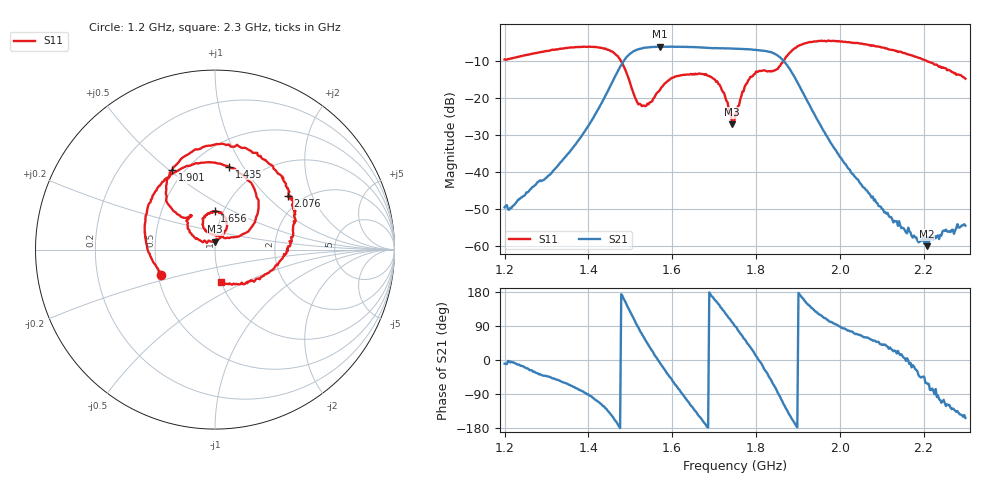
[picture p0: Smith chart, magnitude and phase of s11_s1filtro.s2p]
# HZ S RI R 50
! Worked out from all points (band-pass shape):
!   404 points, 1.2 GHz to 2.3 GHz, reference 50 ohm
!   highest |S21| = -6.15 dB at 1.571 GHz (marker M1); lowest = -60.0 dB at 2.207 GHz (marker M2)
!   |S21| within 3 dB of the highest: 1.49 GHz to 1.859 GHz (368.8 MHz wide, 22 % of centre)
!   lowest |S11| = -27.1 dB at 1.743 GHz (marker M3), VSWR 1.09, Z = 49.9 + j4.39 ohm
!   |S11| at or under -10 dB: 1.477 GHz to 1.866 GHz (388.4 MHz wide, 23.2 % of centre); 2.208 GHz to end of sweep
!   S12 and S22 are empty: the file has one direction only
!   S11 on the Smith chart (normalised r, x): 1.2 GHz: 0.52, -0.17; 1.435 GHz: 0.73, +0.87; 1.656 GHz: 0.91, +0.41; 1.901 GHz: 0.43, +0.51; 2.076 GHz: 1.69, +1.35; 2.3 GHz: 1.01, -0.37
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1.2e9  -0.2989 -0.1427  0.00331 -0.000562  0 0  0 0
1.300993e9  -0.381 0.1989  0.00626 -0.0058  0 0  0 0
1.385608e9  -0.1817 0.4547  0.00406 -0.0316  0 0  0 0
1.434739e9  0.0793 0.4626  -0.0484 -0.079  0 0  0 0
1.48933e9  0.1982 0.1177  -0.3026 0.1665  0 0  0 0
1.519355e9  0.0508 0.0646  0.0363 0.4517  0 0  0 0
1.568486e9  -0.0539 0.1111  0.4901 -0.0331  0 0  0 0
1.571216e9  -0.0592 0.1149  0.4869 -0.0733  0 0  0 0
1.614888e9  -0.0463 0.1927  0.1188 -0.4766  0 0  0 0
1.655831e9  -0.00173 0.2131  -0.343 -0.3415  0 0  0 0
1.707692e9  0.0666 0.1539  -0.4112 0.2261  0 0  0 0
1.743176e9  0.000468 0.0439  -0.0763 0.4587  0 0  0 0
1.751365e9  -0.0355 0.0503  0.0141 0.4627  0 0  0 0
1.803226e9  -0.1492 0.1682  0.4398 0.0493  0 0  0 0
1.844169e9  -0.1529 0.1786  0.1392 -0.3698  0 0  0 0
1.871464e9  -0.2568 0.2477  -0.178 -0.2293  0 0  0 0
1.901489e9  -0.2394 0.4436  -0.1533 0.00796  0 0  0 0
1.934243e9  -0.0763 0.5645  -0.0493 0.0467  0 0  0 0
2.076179e9  0.4059 0.2972  0.00269 0.00365  0 0  0 0
2.117122e9  0.4345 0.1218  0.00223 0.00127  0 0  0 0
2.207196e9  0.287 -0.1358  0.000494 -0.000875  0 0  0 0
2.3e9  0.0361 -0.1785  -0.00169 -0.000861  0 0  0 0
